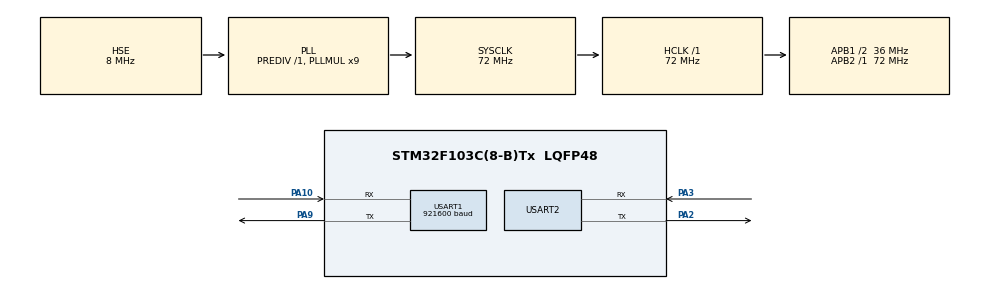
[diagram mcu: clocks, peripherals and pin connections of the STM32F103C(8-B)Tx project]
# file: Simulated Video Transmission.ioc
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Dma.Request0=USART1_RX
Dma.Request1=USART2_RX
Dma.USART1_RX.0.Direction=DMA_PERIPH_TO_MEMORY
Dma.USART1_RX.0.Instance=DMA1_Channel5
Dma.USART1_RX.0.MemDataAlignment=DMA_MDATAALIGN_BYTE
Dma.USART1_RX.0.MemInc=DMA_MINC_ENABLE
Dma.USART1_RX.0.Mode=DMA_CIRCULAR
Dma.USART1_RX.0.PeriphDataAlignment=DMA_PDATAALIGN_BYTE
Dma.USART1_RX.0.PeriphInc=DMA_PINC_DISABLE
Dma.USART1_RX.0.Priority=DMA_PRIORITY_LOW
Dma.USART2_RX.1.Direction=DMA_PERIPH_TO_MEMORY
Dma.USART2_RX.1.Instance=DMA1_Channel6
Dma.USART2_RX.1.MemDataAlignment=DMA_MDATAALIGN_BYTE
Dma.USART2_RX.1.MemInc=DMA_MINC_ENABLE
Dma.USART2_RX.1.Mode=DMA_CIRCULAR
Dma.USART2_RX.1.PeriphDataAlignment=DMA_PDATAALIGN_BYTE
Dma.USART2_RX.1.PeriphInc=DMA_PINC_DISABLE
Dma.USART2_RX.1.Priority=DMA_PRIORITY_LOW
Mcu.Family=STM32F1
Mcu.Name=STM32F103C(8-B)Tx
Mcu.Package=LQFP48
NVIC.DMA1_Channel5_IRQn=true\:0\:0\:false\:false\:true\:false\:true\:true
NVIC.DMA1_Channel6_IRQn=true\:0\:0\:false\:false\:true\:false\:true\:true
NVIC.PriorityGroup=NVIC_PRIORITYGROUP_4
NVIC.USART1_IRQn=true\:0\:0\:false\:false\:true\:true\:true\:true
NVIC.USART2_IRQn=true\:0\:0\:false\:false\:true\:true\:true\:true
PA10.Mode=Asynchronous
PA10.Signal=USART1_RX
PA13.Mode=Serial_Wire
PA13.Signal=SYS_JTMS-SWDIO
PA14.Mode=Serial_Wire
PA14.Signal=SYS_JTCK-SWCLK
PA2.Mode=Asynchronous
PA2.Signal=USART2_TX
PA3.Mode=Asynchronous
PA3.Signal=USART2_RX
PA9.Mode=Asynchronous
PA9.Signal=USART1_TX
PD0-OSC_IN.Mode=HSE-External-Oscillator
PD0-OSC_IN.Signal=RCC_OSC_IN
PD1-OSC_OUT.Mode=HSE-External-Oscillator
PD1-OSC_OUT.Signal=RCC_OSC_OUT
ProjectManager.HeapSize=0x200
ProjectManager.StackSize=0x400
ProjectManager.TargetToolchain=MDK-ARM V5.32
RCC.AHBFreq_Value=72000000
RCC.APB1CLKDivider=RCC_HCLK_DIV2
RCC.APB1Freq_Value=36000000
RCC.APB1TimFreq_Value=72000000
RCC.APB2Freq_Value=72000000
RCC.APB2TimFreq_Value=72000000
RCC.HCLKFreq_Value=72000000
RCC.PLLMUL=RCC_PLL_MUL9
RCC.PLLSourceVirtual=RCC_PLLSOURCE_HSE
RCC.SYSCLKFreq_VALUE=72000000
RCC.SYSCLKSource=RCC_SYSCLKSOURCE_PLLCLK
RCC.USBFreq_Value=72000000
USART1.BaudRate=921600
USART1.VirtualMode=VM_ASYNC
USART2.VirtualMode=VM_ASYNC
board=custom

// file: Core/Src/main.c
/* USER CODE BEGIN Header */
/**
 ******************************************************************************
 * @file           : main.c
 * @brief          : Main program body
 ******************************************************************************
 * @attention
 *
 * Copyright (c) 2026 STMicroelectronics.
 * All rights reserved.
 *
 * This software is licensed under terms that can be found in the LICENSE file
 * in the root directory of this software component.
 * If no LICENSE file comes with this software, it is provided AS-IS.
 *
 ******************************************************************************
 */
/* USER CODE END Header */
#include "main.h"
#include "dma.h"
#include "usart.h"
#include "gpio.h"

/* USER CODE BEGIN PV */
uint8_t rx1_buffer[Rx1_Buffer_Size];
uint8_t rx2_buffer[Rx2_Buffer_Size];
volatile uint16_t rx1_wpos = 0;
volatile uint16_t rx2_wpos = 0;
volatile uint8_t rx1_flag = 0;
volatile uint8_t rx2_flag = 0;
static uint16_t rx1_rpos = 0;
static uint16_t rx2_rpos = 0;

/* USER CODE END PV */

void SystemClock_Config(void);

/* USER CODE BEGIN 0 */
static void bridge_forward(UART_HandleTypeDef *out, const uint8_t *buf, uint16_t size, uint16_t *rpos,
                           volatile uint16_t *wpos) {
    while (*rpos != *wpos) {
        if (*rpos < *wpos) {
            HAL_UART_Transmit(out, (uint8_t *)&buf[*rpos], *wpos - *rpos, 50);
            *rpos = *wpos;
        } else {
            HAL_UART_Transmit(out, (uint8_t *)&buf[*rpos], size - *rpos, 50);
            *rpos = 0;
        }
    }
}
/* USER CODE END 0 */

int main(void) {

    /* MCU Configuration--------------------------------------------------------*/

    /* Reset of all peripherals, Initializes the Flash interface and the Systick. */
    HAL_Init();

    /* Configure the system clock */
    SystemClock_Config();

    /* Initialize all configured peripherals */
    MX_GPIO_Init();
    MX_DMA_Init();
    MX_USART1_UART_Init();
    MX_USART2_UART_Init();
    /* USER CODE BEGIN 2 */
    __HAL_UART_ENABLE_IT(&huart1, UART_IT_IDLE);
    __HAL_UART_ENABLE_IT(&huart2, UART_IT_IDLE);
    HAL_UART_Receive_DMA(&huart1, rx1_buffer, Rx1_Buffer_Size);
    HAL_UART_Receive_DMA(&huart2, rx2_buffer, Rx2_Buffer_Size);
    /* USER CODE END 2 */

    /* Infinite loop */
    while (1) {

        /* USER CODE BEGIN 3 */
        if (huart1.RxState != HAL_UART_STATE_BUSY_RX) {
            __HAL_UART_CLEAR_OREFLAG(&huart1);
            rx1_rpos = 0;
            rx1_wpos = 0;
            HAL_UART_Receive_DMA(&huart1, rx1_buffer, Rx1_Buffer_Size);
        }
        if (huart2.RxState != HAL_UART_STATE_BUSY_RX) {
            __HAL_UART_CLEAR_OREFLAG(&huart2);
            rx2_rpos = 0;
            rx2_wpos = 0;
            HAL_UART_Receive_DMA(&huart2, rx2_buffer, Rx2_Buffer_Size);
        }

        if (rx1_flag) {
            rx1_flag = 0;
            bridge_forward(&huart2, rx1_buffer, Rx1_Buffer_Size, &rx1_rpos, &rx1_wpos);
        }
        if (rx2_flag) {
            rx2_flag = 0;
            bridge_forward(&huart1, rx2_buffer, Rx2_Buffer_Size, &rx2_rpos, &rx2_wpos);
        }
    }
    /* USER CODE END 3 */
}

void SystemClock_Config(void) {
    RCC_OscInitTypeDef RCC_OscInitStruct = {0};
    RCC_ClkInitTypeDef RCC_ClkInitStruct = {0};

    /** Initializes the RCC Oscillators according to the specified parameters
     * in the RCC_OscInitTypeDef structure.
     */
    RCC_OscInitStruct.OscillatorType = RCC_OSCILLATORTYPE_HSE;
    RCC_OscInitStruct.HSEState = RCC_HSE_ON;
    RCC_OscInitStruct.HSEPredivValue = RCC_HSE_PREDIV_DIV1;
    RCC_OscInitStruct.HSIState = RCC_HSI_ON;
    RCC_OscInitStruct.PLL.PLLState = RCC_PLL_ON;
    RCC_OscInitStruct.PLL.PLLSource = RCC_PLLSOURCE_HSE;
    RCC_OscInitStruct.PLL.PLLMUL = RCC_PLL_MUL9;
    if (HAL_RCC_OscConfig(&RCC_OscInitStruct) != HAL_OK) {
        Error_Handler();
    }

    /** Initializes the CPU, AHB and APB buses clocks
     */
    RCC_ClkInitStruct.ClockType =
        RCC_CLOCKTYPE_HCLK | RCC_CLOCKTYPE_SYSCLK | RCC_CLOCKTYPE_PCLK1 | RCC_CLOCKTYPE_PCLK2;
    RCC_ClkInitStruct.SYSCLKSource = RCC_SYSCLKSOURCE_PLLCLK;
    RCC_ClkInitStruct.AHBCLKDivider = RCC_SYSCLK_DIV1;
    RCC_ClkInitStruct.APB1CLKDivider = RCC_HCLK_DIV2;
    RCC_ClkInitStruct.APB2CLKDivider = RCC_HCLK_DIV1;

    if (HAL_RCC_ClockConfig(&RCC_ClkInitStruct, FLASH_LATENCY_2) != HAL_OK) {
        Error_Handler();
    }
}

void Error_Handler(void) {
    __disable_irq();
    while (1) {
    }
}
